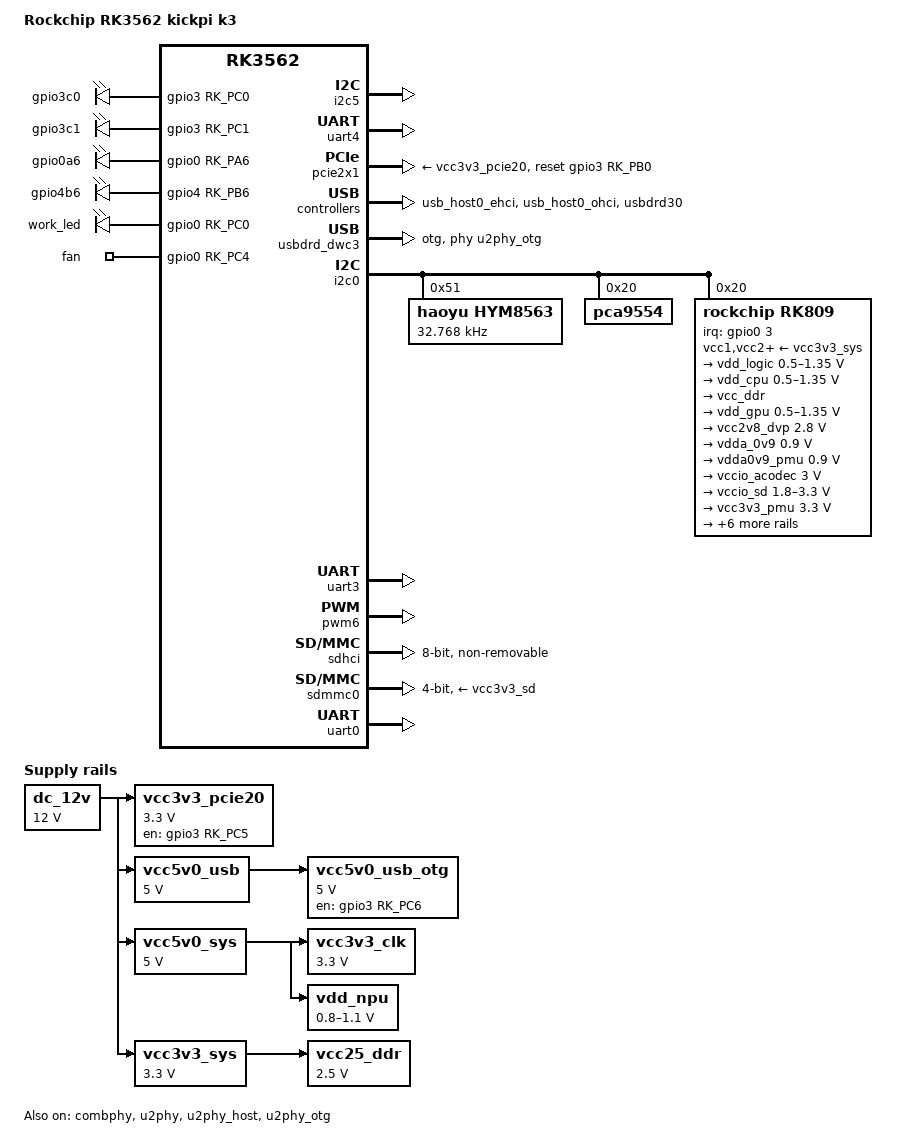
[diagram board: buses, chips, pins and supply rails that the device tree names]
// SPDX-License-Identifier: (GPL-2.0+ OR MIT)
/*
 * Copyright (c) 2025 Sohaib Mohamed
 */

/dts-v1/;

#include <dt-bindings/gpio/gpio.h>
#include <dt-bindings/input/input.h>
#include <dt-bindings/leds/common.h>
#include <dt-bindings/pinctrl/rockchip.h>
#include "rk3562.dtsi"

/ {
	model = "Rockchip RK3562 kickpi k3";
	compatible = "rockchip,rk3562-kickpi-k3", "rockchip,rk3562";

	chosen: chosen {
		bootargs = "console=ttyS0,1500000n8 rw";
	};

	// Is this compatible exist for linux kernel driver?
	// Is this device contain really 5 buttons?
	// Add code styple correct?
	// TODO?
	// all comments deleted?
	//

	//>> rk3562-kickpi-pcie-m2.dtsi
	vcc3v3_pcie20: vcc3v3-pcie20 {
			compatible = "regulator-fixed";
			regulator-name = "vcc3v3_pcie20";
			regulator-min-microvolt = <3300000>;
			regulator-max-microvolt = <3300000>;
			enable-active-high;
			regulator-boot-on;
			regulator-always-on;
			gpios = <&gpio3 RK_PC5 GPIO_ACTIVE_HIGH>;
			startup-delay-us = <5000>;
			vin-supply = <&dc_12v>;
	};


	//>> rk3562-kickpi-usb.dtsi
        vcc5v0_usb: vcc5v0-usb {
                compatible = "regulator-fixed";
                regulator-name = "vcc5v0_usb";
                regulator-always-on;
                regulator-boot-on;
                regulator-min-microvolt = <5000000>;
                regulator-max-microvolt = <5000000>;
                vin-supply = <&dc_12v>;
        };
/*
	//>> rk3562-kickpi-usb.dtsi
        vcc5v0_usb_host: vcc5v0-usb-host {
                compatible = "regulator-fixed";
                regulator-name = "vcc5v0_usb_host";
                regulator-boot-on;
                regulator-always-on;
                regulator-min-microvolt = <5000000>;
                regulator-max-microvolt = <5000000>;
                enable-active-high;
                gpio = <&gpio3 RK_PC6 GPIO_ACTIVE_HIGH>;
                vin-supply = <&vcc5v0_usb>;
                pinctrl-names = "default";
                pinctrl-0 = <&usb_host_pwren>;
        };
*/
		//>> rk3562-kickpi-usb.dtsi
        vcc5v0_usb_otg: vcc5v0-usb-otg {
                compatible = "regulator-fixed";
                regulator-name = "vcc5v0_usb_otg";
                regulator-min-microvolt = <5000000>;
                regulator-max-microvolt = <5000000>;
                enable-active-high;
                gpio = <&gpio3 RK_PC6 GPIO_ACTIVE_HIGH>;
                vin-supply = <&vcc5v0_usb>;
                pinctrl-names = "default";
                pinctrl-0 = <&usb_otg_pwren>;
        };

	////>>rk3562-kickpi-wifibt.dtsi
	//sdio_pwrseq: sdio-pwrseq {
	//	compatible = "mmc-pwrseq-simple";
	//	clocks = <&rk809 1>;
	//	clock-names = "ext_clock";
	//	pinctrl-names = "default";
	//	pinctrl-0 = <&wifi_enable_h>;

	//	/*
	//	 * On the module itself this is one of these (depending
	//	 * on the actual card populated):
	//	 * - SDIO_RESET_L_WL_REG_ON
	//	 * - PDN (power down when low)
	//	 */
	//	post-power-on-delay-ms = <200>;
	//};

	////>>rk3562-kickpi-wifibt.dtsi
	//wireless_wlan: wireless-wlan {
	//	compatible = "wlan-platdata";
	//	rockchip,grf = <&sys_grf>;
	//	wifi_chip_type = "rtl8822cs";
	//	WIFI,poweren_gpio = <&gpio0 RK_PB3 GPIO_ACTIVE_HIGH>;
	//	pinctrl-names = "default";
	//	pinctrl-0 = <&wifi_host_wake_irq>;
	//	WIFI,host_wake_irq = <&gpio0 RK_PB4 GPIO_ACTIVE_HIGH>;
	//	status = "okay";
	//};

	////>>rk3562-kickpi-wifibt.dtsi
	//wireless_bluetooth: wireless-bluetooth {
	//	compatible = "bluetooth-platdata";
	//	clocks = <&rk809 1>;
	//	clock-names = "ext_clock";
	//	uart_rts_gpios = <&gpio3 RK_PD3 GPIO_ACTIVE_LOW>;
	//	pinctrl-names = "default", "rts_gpio";
	//	pinctrl-0 = <&uart7m0_rtsn>;
	//	pinctrl-1 = <&uart7_gpios>;
	//	BT,power_gpio    = <&gpio0 RK_PC5 GPIO_ACTIVE_HIGH>;
	//	BT,wake_gpio     = <&gpio0 RK_PC6 GPIO_ACTIVE_HIGH>;
	//	BT,wake_host_irq = <&gpio0 RK_PC7 GPIO_ACTIVE_HIGH>;
	//	status = "okay";
	//};


	//>> rk3562-kickpi-k3.dtsi
	dc_12v: dc-12v {
		compatible = "regulator-fixed";
		regulator-name = "dc_12v";
		regulator-always-on;
		regulator-boot-on;
		regulator-min-microvolt = <12000000>;
		regulator-max-microvolt = <12000000>;
	};

	////>> rk3562-kickpi-k3.dtsi
	//rk809_sound: rk809-sound {
	//	status = "okay";
	//	compatible = "rockchip,multicodecs-card";
	//	rockchip,card-name = "rockchip-rk809";
	//	hp-det-gpio = <&gpio4 RK_PB1 GPIO_ACTIVE_HIGH>;
	//	rockchip,format = "i2s";
	//	rockchip,mclk-fs = <256>;
	//	rockchip,cpu = <&sai0>;
	//	rockchip,codec = <&rk809_codec>;
	//	pinctrl-names = "default";
	//	pinctrl-0 = <&hp_det>;
	//};

	//>> rk3562-kickpi-k3.dtsi
	vcc5v0_sys: vcc5v0-sys {
		compatible = "regulator-fixed";
		regulator-name = "vcc5v0_sys";
		regulator-always-on;
		regulator-boot-on;
		regulator-min-microvolt = <5000000>;
		regulator-max-microvolt = <5000000>;
		vin-supply = <&dc_12v>;
	};

	//>> rk3562-kickpi-k3.dtsi
	vcc3v3_clk: vcc3v3-clk {
		compatible = "regulator-fixed";
		regulator-name = "vcc3v3_clk";
		regulator-min-microvolt = <3300000>;
		regulator-max-microvolt = <3300000>;
		vin-supply = <&vcc5v0_sys>;
	};

	//>> rk3562-kickpi-k3.dtsi
	vcc3v3_sys: vcc-sys {
		compatible = "regulator-fixed";
		regulator-name = "vcc3v3_sys";
		regulator-always-on;
		regulator-boot-on;
		regulator-min-microvolt = <3300000>;
		regulator-max-microvolt = <3300000>;
		vin-supply = <&dc_12v>;
	};

	//>> rk3562-kickpi-k3.dtsi
	vcc25_ddr: vcc25-ddr {
		compatible = "regulator-fixed";
		regulator-name = "vcc25_ddr";
		regulator-always-on;
		regulator-boot-on;
		regulator-min-microvolt = <2500000>;
		regulator-max-microvolt = <2500000>;
		vin-supply = <&vcc3v3_sys>;
	};

	//>> rk3562-kickpi-k3.dtsi
	vdd_npu: vdd-npu {
		compatible = "pwm-regulator";
		pwms = <&pwm6 0 5000 1>;
		regulator-name = "vdd_npu";
		regulator-min-microvolt = <800000>;
		regulator-max-microvolt = <1100000>;
		regulator-init-microvolt = <900000>;
		regulator-always-on;
		regulator-boot-on;
		regulator-settling-time-up-us = <250>;
		pwm-supply = <&vcc5v0_sys>;
		status = "okay";
	};

	leds: leds {
		compatible = "gpio-leds";
	};

};

////>> rk3562-kickpi-gmac0.dtsi
//&gmac0 {
//		/* Use rgmii-rxid mode to disable rx delay inside Soc */
//		//phy-mode = "rgmii-rxid";
//		phy-mode = "rgmii";
//		clock_in_out = "output";
//
//		snps,reset-gpio = <&gpio3 RK_PA0 GPIO_ACTIVE_LOW>;
//		snps,reset-active-low;
//		/* Reset time is 20ms, 100ms for rtl8211f */
//		snps,reset-delays-us = <0 20000 100000>;
//
//		tx_delay = <0x47>;
//		rx_delay = <0x40>;
//
//		pinctrl-names = "default";
//		pinctrl-0 = <&rgmiim0_miim
//					&rgmiim0_tx_bus2
//					&rgmiim0_rx_bus2
//					&rgmiim0_rgmii_clk
//					&rgmiim0_rgmii_bus>;
//					//&ethm0_pins>;
//
//		phy-handle = <&rgmii_phy>;
//		status = "okay";
//};
//
////>> rk3562-kickpi-gmac0.dtsi
//&mdio0 {
//		rgmii_phy: phy@1 {
//				compatible = "ethernet-phy-ieee802.3-c22";
//				reg = <0x1>;
//				//clocks = <&cru CLK_GMAC_ETH_OUT2IO>;
//				//assigned-clocks = <&cru CLK_GMAC_ETH_OUT2IO>;
//				//assigned-clock-rates = <25000000>;
//		};
//};

////>> rk3562-kickpi-gmac1.dtsi
//&gmac1 {
//        phy-mode = "rmii";
//        clock_in_out = "input";
//
//        snps,reset-gpio = <&gpio3 RK_PA1 GPIO_ACTIVE_LOW>;
//        snps,reset-active-low;
//        snps,reset-delays-us = <0 20000 100000>;
//
//        tx_delay = <0x10>;
//        rx_delay = <0x2f>;
//
//        pinctrl-names="default";
//        pinctrl-0 = <&rmii_pins>;
//
//        phy-handle = <&rgmii_phy1>;
//
//        status = "okay";
//};
//
////>> rk3562-kickpi-gmac1.dtsi
//&mdio1 {
//        rgmii_phy1: phy@1 {
//                compatible = "ethernet-phy-ieee802.3-c22";
//                reg = <0x01>;
//        };
//};

//>> rk3562-kickpi-extend-20pin.dtsi
&i2c5 {
	status = "okay";
	pinctrl-names = "default";
        pinctrl-0 = <&i2c5m0_xfer>;
};


//>> rk3562-kickpi-extend-20pin.dtsi
&uart4 {
	status = "okay";
        pinctrl-names = "default";
        pinctrl-0 = <&uart4m0_xfer>;
};

//>> rk3562-kickpi-extend-20pin.dtsi
&leds {
	gpio3c0 {
		gpios = <&gpio3 RK_PC0 GPIO_ACTIVE_HIGH>;
		default-state = "on";
	};
	gpio3c1 {
		gpios = <&gpio3 RK_PC1 GPIO_ACTIVE_HIGH>;
		default-state = "on";
	};
	gpio0a6 {
		gpios = <&gpio0 RK_PA6 GPIO_ACTIVE_HIGH>;
		default-state = "on";
	};
	gpio4b6 {
		gpios = <&gpio4 RK_PB6 GPIO_ACTIVE_HIGH>;
		default-state = "on";
	};
};

//>> rk3562-kickpi-pcie-m2.dtsi
&combphy {
        status = "okay";
};

//>> rk3562-kickpi-pcie-m2.dtsi
&pcie2x1 {
        reset-gpios = <&gpio3 RK_PB0 GPIO_ACTIVE_HIGH>;
        vpcie3v3-supply = <&vcc3v3_pcie20>;
        status = "okay";
};

//>> rk3562-kickpi-usb.dtsi
&u2phy {
        status = "okay";
};

//>> rk3562-kickpi-usb.dtsi
&u2phy_host {
        status = "okay";
        phy-supply = <&vcc5v0_usb_otg>;
};

//>> rk3562-kickpi-usb.dtsi
&u2phy_otg {
        status = "okay";
        //vbus-supply = <&vcc5v0_usb_otg>;
};

//>> rk3562-kickpi-usb.dtsi
&usb_host0_ehci {
        status = "okay";
};

//>> rk3562-kickpi-usb.dtsi
&usb_host0_ohci {
        status = "okay";
};

//>> rk3562-kickpi-usb.dtsi
&usbdrd30 {
        status = "okay";
};

//>> rk3562-kickpi-usb.dtsi
&usbdrd_dwc3 {
        status = "okay";
        dr_mode = "otg";
        extcon = <&u2phy>;
        maximum-speed = "high-speed";
        phys = <&u2phy_otg>;
        phy-names = "usb2-phy";
        snps,dis_u2_susphy_quirk;
        snps,usb2-lpm-disable;
};

//>> rk3562-kickpi-usb.dtsi
&pinctrl {
        usb {
/*              usb_host_pwren: usb-host-pwren {
                        rockchip,pins = <3 RK_PC6 RK_FUNC_GPIO &pcfg_pull_none>;
                };
*/
                usb_otg_pwren: usb-otg-pwren {
                        rockchip,pins = <3 RK_PC6 RK_FUNC_GPIO &pcfg_pull_none>;
                };

        };
};

////>>rk3562-kickpi-wifibt.dtsi
//&sdmmc1 {
//        no-sd;
//        no-mmc;
//        bus-width = <4>;
//        disable-wp;
//        cap-sd-highspeed;
//        cap-sdio-irq;
//        keep-power-in-suspend;
//        mmc-pwrseq = <&sdio_pwrseq>;
//        non-removable;
//        pinctrl-names = "default";
//        pinctrl-0 = <&sdmmc1_bus4 &sdmmc1_cmd &sdmmc1_clk>;
//        sd-uhs-sdr104;
//        status = "okay";
//};

////>>rk3562-kickpi-wifibt.dtsi
//&uart7 {
//        status = "okay";
//        pinctrl-names = "default";
//        pinctrl-0 = <&uart7m0_xfer &uart7m0_ctsn>;
//};
//
////>>rk3562-kickpi-wifibt.dtsi
//&pinctrl {
//	wireless-bluetooth {
//		uart7_gpios: uart7-gpios {
//			rockchip,pins = <3 RK_PD3 RK_FUNC_GPIO &pcfg_pull_none>;
//		};
//	};
//
//	sdio-pwrseq {
//		wifi_enable_h: wifi-enable-h {
//			rockchip,pins = <0 RK_PB3 RK_FUNC_GPIO &pcfg_pull_up>;
//		};
//	};
//
//	wireless-wlan {
//		wifi_host_wake_irq: wifi-host-wake-irq {
//			rockchip,pins = <0 RK_PB4 RK_FUNC_GPIO &pcfg_pull_down>;
//		};
//	};
//};

//>> rk3562-kickpi-k3.dtsi
&leds {
	work_led: work-led {
		gpios = <&gpio0 RK_PC0 GPIO_ACTIVE_HIGH>;
		linux,default-trigger = "heartbeat";
	};
	fan: fan {
		gpios = <&gpio0 RK_PC4 GPIO_ACTIVE_HIGH>;
		default-state = "on";
	};
};

////>> rk3562-kickpi-k3.dtsi
//&sai0 {
//        status = "okay";
//        pinctrl-names = "default";
//        pinctrl-0 = <&i2s0m0_lrck
//                     &i2s0m0_sclk
//                     &i2s0m0_sdi0
//                     &i2s0m0_sdo0>;
//};

//>> rk3562-kickpi-k3.dtsi
&i2c0 {
        status = "okay";

        hym8563: hym8563@51 {
                compatible = "haoyu,hym8563";
                reg = <0x51>;
                #clock-cells = <0>;
                clock-frequency = <32768>;
                clock-output-names = "hym8563";
                // IRQ GPIO IS MODIFYED FOR UPDATE HYM8562 DRIVER
                //rtc-irq-gpio = <&gpio0 RK_PD3 IRQ_TYPE_EDGE_FALLING>;
        };

        pca9554: gpio@20 {
                compatible = "pca9554";
                reg = <0x20>;
                status = "okay";

                pca9554_gpio: gpio-normal@20 {
                        compatible = "pca9554-gpio";
                        gpio-controller;
                        #gpio-cells = <2>;
                };
        };
};

//>> rk3562-kickpi-k3.dtsi
&uart3 {
        status = "okay";
        pinctrl-names = "default";
        pinctrl-0 = <&uart3m0_xfer>;
};

//>> rk3562-kickpi-k3.dtsi
&pwm6 {
	status = "okay";
};

//>> rk3562-kickpi-k3.dtsi
&pinctrl {
	headphone {
		hp_det: hp-det {
			rockchip,pins = <4 RK_PB1 RK_FUNC_GPIO &pcfg_pull_up>;
		};
	};
};

//>> from no where!
&sdhci {
	bus-width = <8>;
	no-sdio;
	no-sd;
	non-removable;
	mmc-hs400-1_8v;
	mmc-hs400-enhanced-strobe;
	full-pwr-cycle-in-suspend;
	status = "okay";
};

//>> rk3562-kickpi-k3.dtsi
&sdmmc0 {
	no-sdio;
	no-mmc;
	bus-width = <4>;
	cap-mmc-highspeed;
	cap-sd-highspeed;
	disable-wp;
	sd-uhs-sdr104;
	vmmc-supply = <&vcc3v3_sd>;
	vqmmc-supply = <&vccio_sd>;
	pinctrl-names = "default";
	pinctrl-0 = <&sdmmc0_bus4 &sdmmc0_clk &sdmmc0_cmd &sdmmc0_det>;
	status = "okay";
};

&uart0 {
	status = "okay";
	pinctrl-names = "default";
	pinctrl-0 = <&uart0m0_xfer>;
};

&i2c0 {
	status = "okay";

	rk809: pmic@20 {
		compatible = "rockchip,rk809";
		reg = <0x20>;
		interrupt-parent = <&gpio0>;
		interrupts = <3 IRQ_TYPE_LEVEL_LOW>;

		pinctrl-names = "default", "pmic-sleep",
			"pmic-power-off", "pmic-reset";
		pinctrl-0 = <&pmic_int>;
		pinctrl-1 = <&soc_slppin_slp>, <&rk817_slppin_slp>;
		pinctrl-2 = <&soc_slppin_gpio>, <&rk817_slppin_pwrdn>;
		pinctrl-3 = <&soc_slppin_gpio>, <&rk817_slppin_rst>;
		rockchip,system-power-controller;
		wakeup-source;
		#clock-cells = <1>;
		clock-output-names = "rk808-clkout1", "rk808-clkout2";
		/* 1: rst regs (default in codes), 0: rst the pmic */
		pmic-reset-func = <0>;
		/* not save the PMIC_POWER_EN register in uboot */
		not-save-power-en = <1>;

		vcc1-supply = <&vcc3v3_sys>;
		vcc2-supply = <&vcc3v3_sys>;
		vcc3-supply = <&vcc3v3_sys>;
		vcc4-supply = <&vcc3v3_sys>;
		vcc5-supply = <&vcc3v3_sys>;
		vcc6-supply = <&vcc3v3_sys>;
		vcc7-supply = <&vcc3v3_sys>;
		vcc8-supply = <&vcc3v3_sys>;
		vcc9-supply = <&vcc3v3_sys>;

		pwrkey {
			status = "okay";
		};

		pinctrl_rk8xx: pinctrl_rk8xx {
			gpio-controller;
			#gpio-cells = <2>;

			rk817_slppin_null: rk817_slppin_null {
				pins = "gpio_slp";
				function = "pin_fun0";
			};

			rk817_slppin_slp: rk817_slppin_slp {
				pins = "gpio_slp";
				function = "pin_fun1";
			};

			rk817_slppin_pwrdn: rk817_slppin_pwrdn {
				pins = "gpio_slp";
				function = "pin_fun2";
			};

			rk817_slppin_rst: rk817_slppin_rst {
				pins = "gpio_slp";
				function = "pin_fun3";
			};
		};

		regulators {
			vdd_logic: DCDC_REG1 {
				regulator-always-on;
				regulator-boot-on;
				regulator-min-microvolt = <500000>;
				regulator-max-microvolt = <1350000>;
				regulator-init-microvolt = <900000>;
				regulator-ramp-delay = <6001>;
				regulator-initial-mode = <0x2>;
				regulator-name = "vdd_logic";
				regulator-state-mem {
					regulator-off-in-suspend;
				};
			};

			vdd_cpu: DCDC_REG2 {
				regulator-always-on;
				regulator-boot-on;
				regulator-min-microvolt = <500000>;
				regulator-max-microvolt = <1350000>;
				regulator-init-microvolt = <900000>;
				regulator-ramp-delay = <6001>;
				regulator-initial-mode = <0x2>;
				regulator-name = "vdd_cpu";
				regulator-state-mem {
					regulator-off-in-suspend;
				};
			};

			vcc_ddr: DCDC_REG3 {
				regulator-always-on;
				regulator-boot-on;
				regulator-initial-mode = <0x2>;
				regulator-name = "vcc_ddr";
				regulator-state-mem {
					regulator-on-in-suspend;
				};
			};

			vdd_gpu: DCDC_REG4 {
				regulator-always-on;
				regulator-boot-on;
				regulator-min-microvolt = <500000>;
				regulator-max-microvolt = <1350000>;
				regulator-init-microvolt = <900000>;
				regulator-ramp-delay = <6001>;
				regulator-initial-mode = <0x2>;
				regulator-name = "vdd_gpu";
				regulator-state-mem {
					regulator-off-in-suspend;
				};
			};

			vcc2v8_dvp: LDO_REG1 {
				regulator-min-microvolt = <2800000>;
				regulator-max-microvolt = <2800000>;
				regulator-name = "vcc2v8_dvp";
				regulator-state-mem {
					regulator-off-in-suspend;
				};
			};

			vdda_0v9: LDO_REG2 {
				regulator-always-on;
				regulator-boot-on;
				regulator-min-microvolt = <900000>;
				regulator-max-microvolt = <900000>;
				regulator-name = "vdda_0v9";
				regulator-state-mem {
					regulator-off-in-suspend;
				};
			};

			vdda0v9_pmu: LDO_REG3 {
				regulator-always-on;
				regulator-boot-on;
				regulator-min-microvolt = <900000>;
				regulator-max-microvolt = <900000>;
				regulator-name = "vdda0v9_pmu";
				regulator-state-mem {
				regulator-on-in-suspend;
					regulator-suspend-microvolt = <900000>;
				};
			};

			vccio_acodec: LDO_REG4 {
				regulator-always-on;
				regulator-boot-on;
				regulator-min-microvolt = <3000000>;
				regulator-max-microvolt = <3000000>;
				regulator-name = "vccio_acodec";
				regulator-state-mem {
					regulator-off-in-suspend;
				};
			};

			vccio_sd: LDO_REG5 {
				regulator-always-on;
				regulator-boot-on;
				regulator-min-microvolt = <1800000>;
				regulator-max-microvolt = <3300000>;
				regulator-name = "vccio_sd";
				regulator-state-mem {
					regulator-off-in-suspend;
				};
			};

			vcc3v3_pmu: LDO_REG6 {
				regulator-always-on;
				regulator-boot-on;
				regulator-min-microvolt = <3300000>;
				regulator-max-microvolt = <3300000>;
				regulator-name = "vcc3v3_pmu";
				regulator-state-mem {
					regulator-on-in-suspend;
					regulator-suspend-microvolt = <3300000>;
				};
			};

			vcca_1v8: LDO_REG7 {
				regulator-always-on;
				regulator-boot-on;
				regulator-min-microvolt = <1800000>;
				regulator-max-microvolt = <1800000>;
				regulator-name = "vcca_1v8";
				regulator-state-mem {
					regulator-off-in-suspend;
				};
			};

			vcca1v8_pmu: LDO_REG8 {
				regulator-always-on;
				regulator-boot-on;
				regulator-min-microvolt = <1800000>;
				regulator-max-microvolt = <1800000>;
				regulator-name = "vcca1v8_pmu";
				regulator-state-mem {
				regulator-on-in-suspend;
					regulator-suspend-microvolt = <1800000>;
				};
			};

			vcc1v8_dvp: LDO_REG9 {
				regulator-min-microvolt = <1800000>;
				regulator-max-microvolt = <1800000>;
				regulator-name = "vcc1v8_dvp";
				regulator-state-mem {
					regulator-off-in-suspend;
				};
			};

			vcc_1v8: DCDC_REG5 {
				regulator-always-on;
				regulator-boot-on;
				regulator-min-microvolt = <1800000>;
				regulator-max-microvolt = <1800000>;
				regulator-name = "vcc_1v8";
				regulator-state-mem {
					regulator-off-in-suspend;
				};
			};

			vcc_3v3: SWITCH_REG1 {
				regulator-always-on;
				regulator-boot-on;
				regulator-name = "vcc_3v3";
				regulator-state-mem {
					regulator-off-in-suspend;
				};
			};

			vcc3v3_sd: SWITCH_REG2 {
				regulator-always-on;
				regulator-boot-on;
				regulator-name = "vcc3v3_sd";
				regulator-state-mem {
					regulator-off-in-suspend;
				};
			};
		};
	};
};


